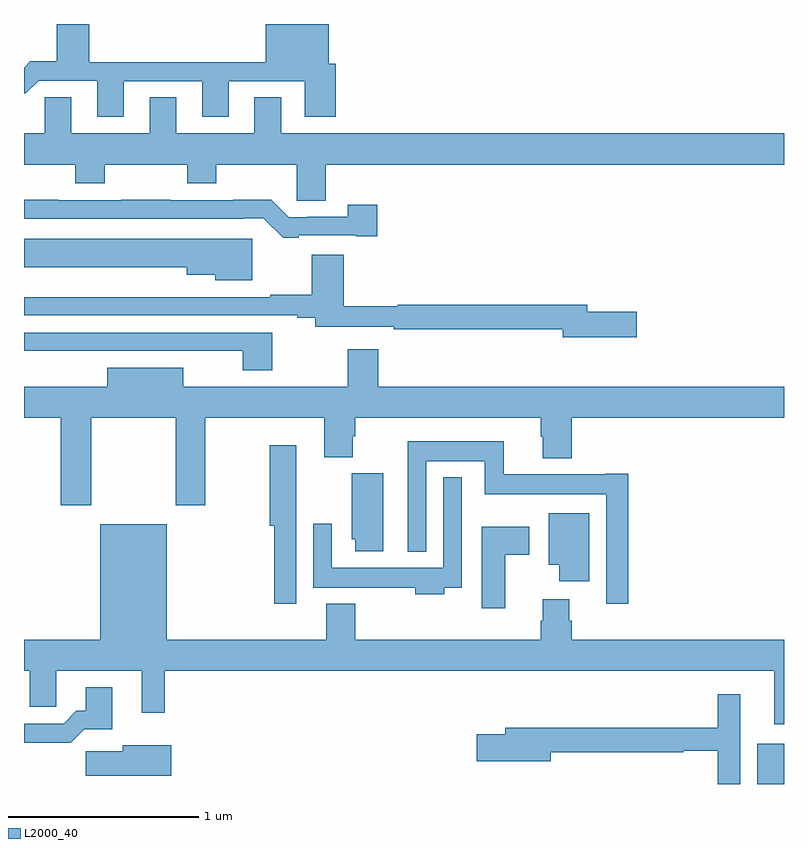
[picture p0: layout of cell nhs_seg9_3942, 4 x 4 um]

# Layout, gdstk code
import gdstk
lib = gdstk.Library(unit=1e-6, precision=1e-09)
def R(c, l, rs):  # rectangles x0, y0, x1, y1
    for r in rs: c.add(gdstk.rectangle(r[:2], r[2:], *l))
def P(c, l, *ps):  # polygons
    for p in ps: c.add(gdstk.Polygon(p, *l))
L2000_40 = (2000, 40)

nhs_seg9_3942 = lib.new_cell('nhs_seg9_3942')
R(nhs_seg9_3942, L2000_40, [(340.859,1186.5,341,1186.711)])
P(nhs_seg9_3942, L2000_40, [(337.525,1190.199),(337.937,1190.199),(337.937,1190.013),(338.077,1190.013),(338.077,1190.199),(338.477,1190.199),(338.477,1190.013),(338.642,1190.013),(338.642,1190.292),(338.605,1190.292),(338.605,1190.5),(338.273,1190.5),(338.273,1190.3),(337.343,1190.3),(337.343,1190.5),(337.172,1190.5),(337.172,1190.303),(337.034,1190.303),(337,1190.269),(337,1190.135),(337.01,1190.135),(337.077,1190.202),(337.385,1190.202),(337.385,1190.013),(337.525,1190.013)],
  [(337.249,1190.114),(337.11,1190.114),(337.11,1189.924),(337,1189.924),(337,1189.76),(337.27,1189.76),(337.27,1189.661),(337.425,1189.661),(337.425,1189.76),(337.858,1189.76),(337.858,1189.661),(338.013,1189.661),(338.013,1189.76),(338.436,1189.76),(338.436,1189.57),(338.588,1189.57),(338.588,1189.76),(341,1189.76),(341,1189.924),(338.353,1189.924),(338.353,1190.114),(338.213,1190.114),(338.213,1189.924),(337.801,1189.924),(337.801,1190.114),(337.661,1190.114),(337.661,1189.924),(337.249,1189.924)],
  [(338.446,1189.389),(338.747,1189.389),(338.747,1189.382),(338.86,1189.382),(338.86,1189.549),(338.704,1189.549),(338.704,1189.485),(338.494,1189.485),(338.494,1189.482),(338.394,1189.482),(338.3,1189.576),(338.101,1189.576),(338.101,1189.572),(337.769,1189.572),(337.769,1189.574),(337.513,1189.574),(337.513,1189.572),(337.181,1189.572),(337.181,1189.574),(337,1189.574),(337,1189.476),(338.159,1189.476),(338.159,1189.478),(338.26,1189.478),(338.364,1189.374),(338.446,1189.374)],
  [(338.2,1189.369),(337,1189.369),(337,1189.22),(337.856,1189.22),(337.856,1189.181),(338.006,1189.181),(338.006,1189.151),(338.2,1189.151)],
  [(340.225,1188.986),(339.964,1188.986),(339.964,1189.022),(338.967,1189.022),(338.967,1189.015),(338.684,1189.015),(338.684,1189.285),(338.515,1189.285),(338.515,1189.075),(338.296,1189.075),(338.296,1189.062),(337.76,1189.062),(337.76,1189.063),(337,1189.063),(337,1188.966),(338.438,1188.966),(338.438,1188.954),(338.534,1188.954),(338.534,1188.906),(338.947,1188.906),(338.947,1188.894),(339.836,1188.894),(339.836,1188.851),(340.225,1188.851)],
  [(338.307,1188.876),(337,1188.876),(337,1188.779),(337.343,1188.779),(337.343,1188.78),(337.933,1188.78),(337.933,1188.779),(338.152,1188.779),(338.152,1188.678),(338.307,1188.678)],
  [(337.353,1188.428),(337.798,1188.428),(337.798,1187.967),(337.953,1187.967),(337.953,1188.428),(338.579,1188.428),(338.579,1188.22),(338.731,1188.22),(338.731,1188.329),(338.744,1188.329),(338.744,1188.428),(339.719,1188.428),(339.719,1188.327),(339.731,1188.327),(339.731,1188.215),(339.884,1188.215),(339.884,1188.428),(341,1188.428),(341,1188.592),(338.864,1188.592),(338.864,1188.787),(338.704,1188.787),(338.704,1188.592),(337.837,1188.592),(337.837,1188.691),(337.439,1188.691),(337.439,1188.592),(337,1188.592),(337,1188.428),(337.193,1188.428),(337.193,1187.967),(337.353,1187.967)],
  [(340.181,1188.133),(340.058,1188.133),(340.058,1188.13),(339.524,1188.13),(339.524,1188.304),(339.02,1188.304),(339.02,1187.723),(339.117,1187.723),(339.117,1188.2),(339.426,1188.2),(339.426,1188.026),(340.065,1188.026),(340.065,1187.448),(340.181,1187.448)],
  [(338.433,1187.962),(338.434,1187.962),(338.434,1188.283),(338.293,1188.283),(338.293,1187.858),(338.317,1187.858),(338.317,1187.448),(338.433,1187.448)],
  [(338.89,1188.135),(338.726,1188.135),(338.726,1187.787),(338.744,1187.787),(338.744,1187.724),(338.89,1187.724)],
  [(339.211,1187.532),(339.303,1187.532),(339.303,1188.115),(339.207,1188.115),(339.207,1187.638),(338.619,1187.638),(338.619,1187.869),(338.523,1187.869),(338.523,1187.534),(338.827,1187.534),(338.827,1187.532),(339.059,1187.532),(339.059,1187.498),(339.211,1187.498)],
  [(339.976,1187.926),(339.761,1187.926),(339.761,1187.654),(339.818,1187.654),(339.818,1187.568),(339.976,1187.568)],
  [(340.949,1186.815),(341,1186.815),(341,1187.26),(339.884,1187.26),(339.884,1187.358),(339.871,1187.358),(339.871,1187.473),(339.731,1187.473),(339.731,1187.358),(339.719,1187.358),(339.719,1187.26),(338.744,1187.26),(338.744,1187.449),(338.591,1187.449),(338.591,1187.26),(337.75,1187.26),(337.75,1187.866),(337.4,1187.866),(337.4,1187.26),(337,1187.26),(337,1187.096),(337.031,1187.096),(337.031,1186.906),(337.17,1186.906),(337.17,1187.096),(337.619,1187.096),(337.619,1186.875),(337.741,1186.875),(337.741,1187.096),(340.949,1187.096)],
  [(339.532,1187.707),(339.658,1187.707),(339.658,1187.854),(339.41,1187.854),(339.41,1187.424),(339.532,1187.424)],
  [(337.316,1186.787),(337.465,1186.787),(337.465,1187.008),(337.325,1187.008),(337.325,1186.885),(337.276,1186.885),(337.209,1186.818),(337,1186.818),(337,1186.718),(337.247,1186.718)],
  [(340.771,1186.972),(340.65,1186.972),(340.65,1186.795),(339.533,1186.795),(339.533,1186.761),(339.384,1186.761),(339.384,1186.619),(339.772,1186.619),(339.772,1186.666),(340.471,1186.666),(340.471,1186.674),(340.65,1186.674),(340.65,1186.5),(340.771,1186.5)],
  [(337.774,1186.705),(337.52,1186.705),(337.52,1186.673),(337.326,1186.673),(337.326,1186.544),(337.774,1186.544)])

lib.write_gds('nhs_seg9_3942.gds')
